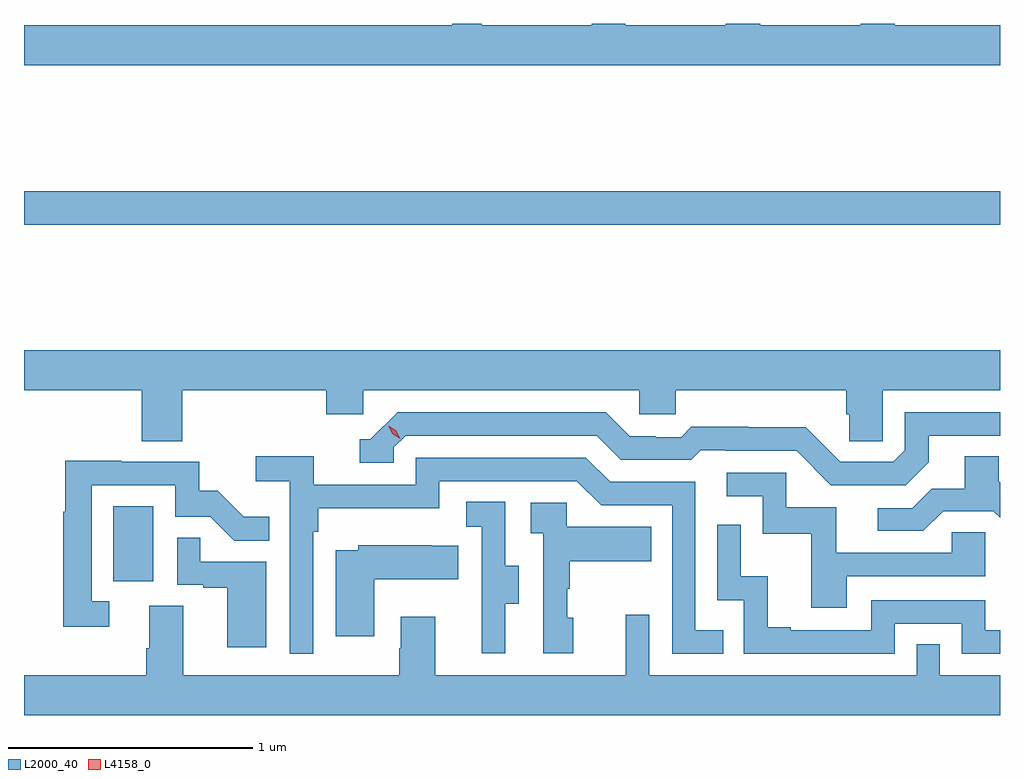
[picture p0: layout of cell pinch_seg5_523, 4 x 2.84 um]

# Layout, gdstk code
import gdstk
lib = gdstk.Library(unit=1e-6, precision=1e-09)
def R(c, l, rs):  # rectangles x0, y0, x1, y1
    for r in rs: c.add(gdstk.rectangle(r[:2], r[2:], *l))
def P(c, l, *ps):  # polygons
    for p in ps: c.add(gdstk.Polygon(p, *l))
L2000_40 = (2000, 40)
L4158_0 = (4158, 0)

pinch_seg5_523 = lib.new_cell('pinch_seg5_523')
R(pinch_seg5_523, L2000_40, [(936.326,841.326,936.49,841.633), (935.96,842.788,939.96,842.924)])
P(pinch_seg5_523, L2000_40, [(939.96,843.604),(939.529,843.604),(939.529,843.612),(939.389,843.612),(939.389,843.604),(938.977,843.604),(938.977,843.612),(938.837,843.612),(938.837,843.604),(938.425,843.604),(938.425,843.612),(938.286,843.612),(938.286,843.604),(937.837,843.604),(937.837,843.612),(937.716,843.612),(937.716,843.604),(935.96,843.604),(935.96,843.44),(939.96,843.44)],
  [(935.96,842.108),(936.443,842.108),(936.443,841.9),(936.608,841.9),(936.608,842.108),(937.199,842.108),(937.199,842.01),(937.35,842.01),(937.35,842.108),(938.481,842.108),(938.481,842.01),(938.631,842.01),(938.631,842.108),(939.329,842.108),(939.329,842.01),(939.343,842.01),(939.343,841.9),(939.48,841.9),(939.48,842.108),(939.96,842.108),(939.96,842.272),(935.96,842.272)],
  [(939.667,841.813),(939.667,841.923),(939.96,841.923),(939.96,842.019),(939.57,842.019),(939.57,841.863),(939.522,841.815),(939.306,841.815),(939.164,841.957),(938.928,841.957),(938.928,841.96),(938.695,841.96),(938.653,841.917),(938.55,841.917),(938.55,841.92),(938.443,841.92),(938.344,842.019),(937.491,842.019),(937.38,841.908),(937.337,841.908),(937.337,841.812),(937.476,841.812),(937.476,841.875),(937.524,841.923),(938.307,841.923),(938.406,841.824),(938.695,841.824),(938.734,841.863),(938.833,841.863),(938.833,841.86),(939.126,841.86),(939.267,841.719),(939.573,841.719)],
  [(939.727,841.614),(939.933,841.614),(939.96,841.587),(939.96,841.731),(939.955,841.736),(939.955,841.838),(939.815,841.838),(939.815,841.706),(939.68,841.706),(939.6,841.626),(939.459,841.626),(939.459,841.533),(939.646,841.533)],
  [(937.146,841.529),(937.166,841.529),(937.166,841.625),(937.662,841.625),(937.662,841.737),(938.226,841.737),(938.325,841.638),(938.616,841.638),(938.616,841.029),(938.825,841.029),(938.825,841.125),(938.712,841.125),(938.712,841.734),(938.362,841.734),(938.263,841.833),(937.566,841.833),(937.566,841.722),(937.148,841.722),(937.148,841.838),(936.909,841.838),(936.909,841.736),(937.05,841.736),(937.05,841.029),(937.146,841.029)],
  [(936.31,841.245),(936.237,841.245),(936.237,841.719),(936.579,841.719),(936.579,841.59),(936.723,841.59),(936.821,841.492),(936.965,841.492),(936.965,841.591),(936.861,841.591),(936.754,841.698),(936.678,841.698),(936.678,841.815),(936.359,841.815),(936.359,841.82),(936.129,841.82),(936.129,841.612),(936.121,841.612),(936.121,841.14),(936.31,841.14)],
  [(939.331,841.347),(939.9,841.347),(939.9,841.527),(939.763,841.527),(939.763,841.443),(939.289,841.443),(939.289,841.629),(939.084,841.629),(939.084,841.77),(938.841,841.77),(938.841,841.674),(938.988,841.674),(938.988,841.521),(939.187,841.521),(939.187,841.218),(939.331,841.218)],
  [(937.933,841.234),(937.987,841.234),(937.987,841.389),(937.932,841.389),(937.932,841.652),(937.773,841.652),(937.773,841.549),(937.836,841.549),(937.836,841.245),(937.835,841.245),(937.835,841.032),(937.933,841.032)],
  [(938.212,841.176),(938.187,841.176),(938.187,841.295),(938.197,841.295),(938.197,841.409),(938.531,841.409),(938.531,841.549),(938.184,841.549),(938.184,841.647),(938.037,841.647),(938.037,841.523),(938.088,841.523),(938.088,841.032),(938.212,841.032)],
  [(939.528,841.152),(939.804,841.152),(939.804,841.029),(939.96,841.029),(939.96,841.125),(939.9,841.125),(939.9,841.248),(939.432,841.248),(939.432,841.125),(939.103,841.125),(939.103,841.138),(939.008,841.138),(939.008,841.346),(938.898,841.346),(938.898,841.558),(938.802,841.558),(938.802,841.248),(938.91,841.248),(938.91,841.029),(939.528,841.029)],
  [(936.952,841.407),(936.683,841.407),(936.683,841.505),(936.588,841.505),(936.588,841.311),(936.695,841.311),(936.695,841.299),(936.794,841.299),(936.794,841.056),(936.952,841.056)],
  [(937.396,841.334),(937.739,841.334),(937.739,841.471),(937.631,841.471),(937.631,841.474),(937.329,841.474),(937.329,841.453),(937.238,841.453),(937.238,841.101),(937.396,841.101)],
  [(939.96,840.94),(939.714,840.94),(939.714,841.067),(939.618,841.067),(939.618,840.94),(938.523,840.94),(938.523,841.189),(938.426,841.189),(938.426,840.94),(937.645,840.94),(937.645,841.18),(937.505,841.18),(937.505,841.052),(937.498,841.052),(937.498,840.94),(936.613,840.94),(936.613,841.226),(936.473,841.226),(936.473,841.052),(936.461,841.052),(936.461,840.94),(935.96,840.94),(935.96,840.776),(939.96,840.776)])
P(pinch_seg5_523, L4158_0, [(937.501,841.91),(937.47,841.93),(937.455,841.962),(937.455,841.963),(937.455,841.963),(937.485,841.943),(937.501,841.91),(937.501,841.91)])

lib.write_gds('pinch_seg5_523.gds')
